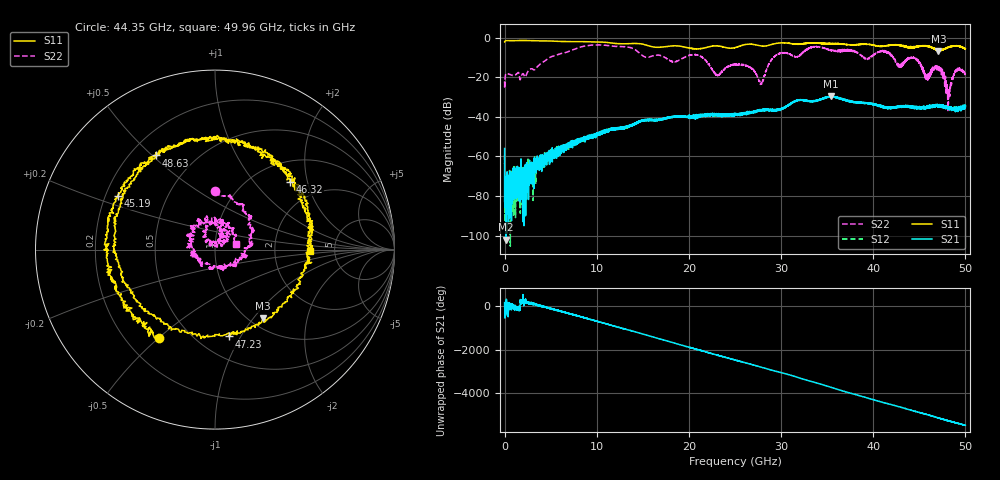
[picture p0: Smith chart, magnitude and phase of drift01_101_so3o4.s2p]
!Created with skrf (http://scikit-rf.org).
# Hz S RI R 50.0
!freq ReS11 ImS11 ReS21 ImS21 ReS12 ImS12 ReS22 ImS22
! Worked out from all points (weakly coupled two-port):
!   10001 points, 300 kHz to 50 GHz, reference 50 ohm
!   highest |S21| = -29.59 dB at 35.44 GHz (marker M1); lowest = -102.0 dB at 140.3 MHz (marker M2)
!   lowest |S11| = -6.6 dB at 47.07 GHz (marker M3), VSWR 2.75, Z = 57.2 - j56 ohm
!   |S11| at or under -10 dB: nowhere
!   |S22| runs from -36.8 to -3.6 dB; largest |S21 - S12| = 0.0044
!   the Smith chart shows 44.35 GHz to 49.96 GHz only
!   S11 on the Smith chart (normalised r, x): 44.35 GHz: 0.33, -0.50; 45.19 GHz: 0.25, +0.24; 46.32 GHz: 1.42, +1.58; 47.23 GHz: 0.70, -0.89; 48.63 GHz: 0.30, +0.51; 49.96 GHz: 3.25, -0.05
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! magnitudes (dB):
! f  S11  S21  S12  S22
! 300 kHz  -2.1  -56.0  -59.2  -22.0
! 140.3 MHz  -1.5  -102.0  -82.4  -18.2
! 1.975 GHz  -1.4  -77.8  -73.7  -18.2
! 8.335 GHz  -1.9  -51.9  -51.6  -4.5
! 16.67 GHz  -4.8  -41.4  -41.6  -8.7
! 20.97 GHz  -5.6  -39.3  -39.8  -8.8
! 23.09 GHz  -4.1  -38.6  -39.2  -18.6
! 25 GHz  -5.0  -38.6  -38.6  -13.7
! 27.84 GHz  -4.1  -36.6  -36.4  -22.9
! 29.47 GHz  -2.9  -36.7  -36.5  -8.8
! 33.34 GHz  -2.6  -32.0  -32.0  -4.8
! 35.44 GHz  -2.9  -29.6  -29.8  -6.3
! 41.67 GHz  -3.9  -35.3  -35.3  -7.8
! 44.35 GHz  -4.6  -35.0  -35.1  -9.8
! 45.19 GHz  -4.2  -34.8  -35.4  -14.2
! 46.32 GHz  -5.0  -34.6  -34.7  -17.2
! 47.07 GHz  -6.6  -34.6  -34.6  -16.5
! 47.23 GHz  -6.2  -34.0  -34.2  -17.2
! 48.12 GHz  -4.9  -35.5  -35.6  -33.9
! 48.63 GHz  -4.2  -36.5  -35.6  -20.4
! 49.96 GHz  -5.5  -35.5  -33.9  -18.2
! 50 GHz  -5.6  -34.4  -35.3  -18.3
